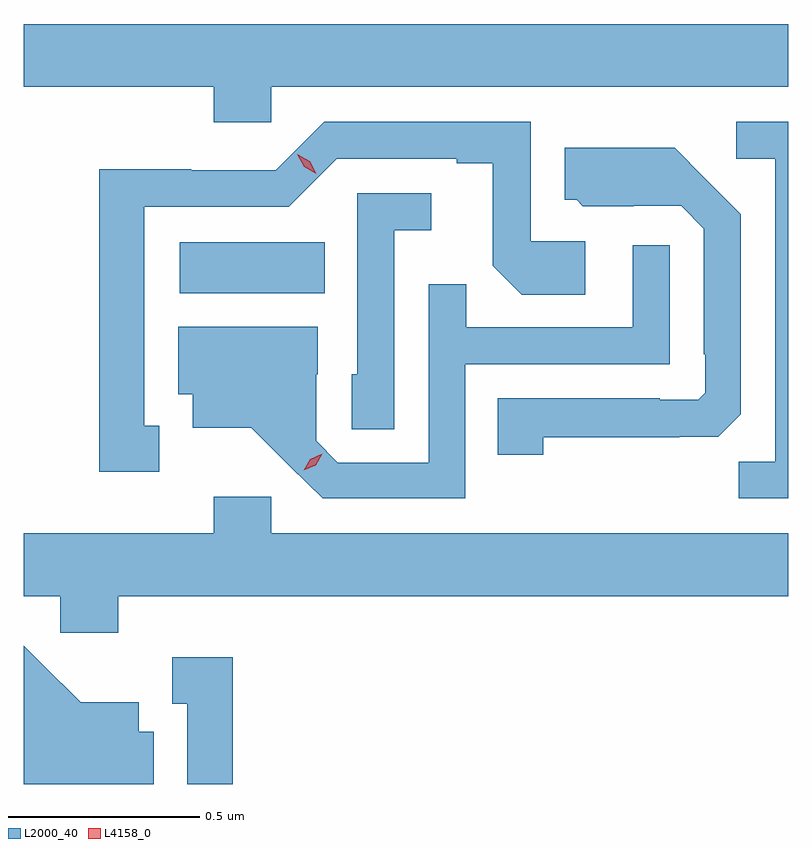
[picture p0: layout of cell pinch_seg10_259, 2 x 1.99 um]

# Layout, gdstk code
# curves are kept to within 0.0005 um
import gdstk
lib = gdstk.Library(unit=1e-6, precision=1e-09)
def R(c, l, rs):  # rectangles x0, y0, x1, y1
    for r in rs: c.add(gdstk.rectangle(r[:2], r[2:], *l))
def P(c, l, *ps):  # polygons
    for p in ps: c.add(gdstk.Polygon(p, *l))
L2000_40 = (2000, 40)
L4158_0 = (4158, 0)

pinch_seg10_259 = lib.new_cell('pinch_seg10_259')
R(pinch_seg10_259, L2000_40, [(591.81,1303.772,592.19,1303.906)])
P(pinch_seg10_259, L2000_40, [(592.05,1304.312),(593.402,1304.312),(593.402,1304.476),(591.402,1304.476),(591.402,1304.312),(591.899,1304.312),(591.899,1304.219),(592.05,1304.219)],
  [(591.757,1303.425),(591.718,1303.425),(591.718,1303.998),(592.095,1303.998),(592.221,1304.124),(592.535,1304.124),(592.535,1304.112),(592.629,1304.112),(592.629,1303.844),(592.705,1303.768),(592.87,1303.768),(592.87,1303.908),(592.728,1303.908),(592.728,1304.22),(592.188,1304.22),(592.062,1304.094),(591.84,1304.094),(591.84,1304.096),(591.6,1304.096),(591.6,1303.305),(591.757,1303.305)],
  [(593.402,1304.22),(593.265,1304.22),(593.265,1304.124),(593.367,1304.124),(593.367,1303.331),(593.272,1303.331),(593.272,1303.236),(593.402,1303.236)],
  [(592.761,1303.396),(593.117,1303.396),(593.117,1303.397),(593.218,1303.397),(593.277,1303.456),(593.277,1303.978),(593.105,1304.152),(592.817,1304.152),(592.817,1304.016),(592.848,1304.016),(592.864,1304),(592.998,1304),(592.998,1304.001),(593.121,1304.001),(593.181,1303.941),(593.181,1303.612),(593.184,1303.612),(593.184,1303.512),(593.166,1303.494),(593.066,1303.494),(593.066,1303.497),(592.642,1303.497),(592.642,1303.35),(592.761,1303.35)],
  [(592.371,1303.937),(592.468,1303.937),(592.468,1304.034),(592.275,1304.034),(592.275,1303.56),(592.26,1303.56),(592.26,1303.417),(592.371,1303.417)],
  [(592.557,1303.587),(593.091,1303.587),(593.091,1303.897),(592.995,1303.897),(592.995,1303.683),(592.559,1303.683),(592.559,1303.796),(592.461,1303.796),(592.461,1303.329),(592.224,1303.329),(592.167,1303.386),(592.167,1303.56),(592.171,1303.56),(592.171,1303.684),(591.806,1303.684),(591.806,1303.508),(591.845,1303.508),(591.845,1303.421),(591.997,1303.421),(592.184,1303.236),(592.557,1303.236)],
  [(591.65,1302.98),(593.402,1302.98),(593.402,1303.144),(592.05,1303.144),(592.05,1303.24),(591.899,1303.24),(591.899,1303.144),(591.402,1303.144),(591.402,1302.98),(591.498,1302.98),(591.498,1302.885),(591.65,1302.885)],
  [(591.742,1302.625),(591.703,1302.625),(591.703,1302.703),(591.551,1302.703),(591.448,1302.805),(591.402,1302.85),(591.402,1302.489),(591.742,1302.489)],
  [(591.949,1302.82),(591.791,1302.82),(591.791,1302.699),(591.83,1302.699),(591.83,1302.489),(591.949,1302.489)])
P(pinch_seg10_259, L4158_0, [(592.135,1303.309),(592.135,1303.309),(592.152,1303.338),(592.183,1303.353),(592.183,1303.353),(592.183,1303.353),(592.166,1303.323),(592.135,1303.309)],
  [(592.168,1304.084),(592.136,1304.103),(592.118,1304.135),(592.118,1304.136),(592.118,1304.136),(592.15,1304.117),(592.168,1304.085),(592.168,1304.084)])

lib.write_gds('pinch_seg10_259.gds')
